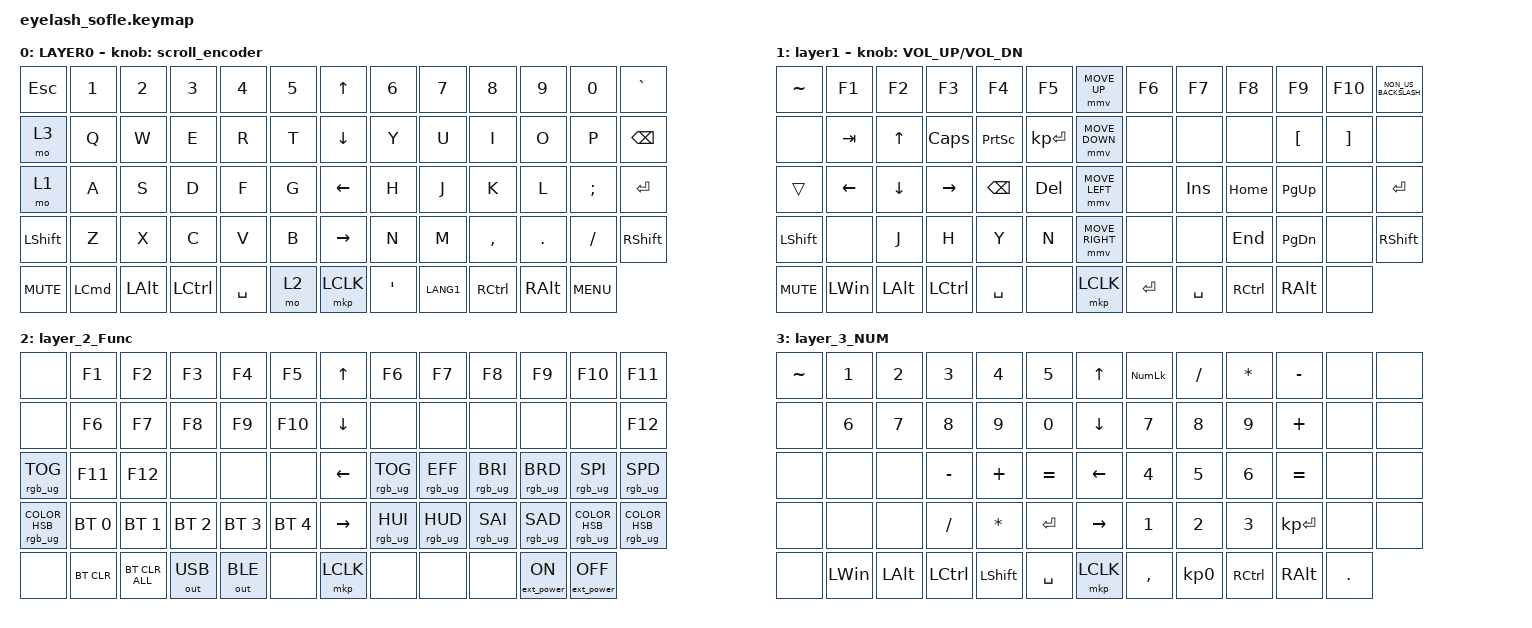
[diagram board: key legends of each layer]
#define ZMK_POINTING_DEFAULT_MOVE_VAL 300  // 600
#define ZMK_POINTING_DEFAULT_SCRL_VAL 15   // 10

#include <input/processors.dtsi>
#include <zephyr/dt-bindings/input/input-event-codes.h>
#include <behaviors.dtsi>
#include <dt-bindings/zmk/bt.h>
#include <dt-bindings/zmk/ext_power.h>
#include <dt-bindings/zmk/keys.h>
#include <dt-bindings/zmk/outputs.h>
#include <dt-bindings/zmk/pointing.h>
#include <dt-bindings/zmk/rgb.h>

&mmv_input_listener { input-processors = <&zip_xy_scaler 2 1>; };

&msc_input_listener { input-processors = <&zip_scroll_scaler 2 1>; };

&msc {
    acceleration-exponent = <0>;      // 0
    time-to-max-speed-ms = <300>;     // 300
    delay-ms = <0>;                   // 0
};

&mmv {
    time-to-max-speed-ms = <500>;
    acceleration-exponent = <0>;
    trigger-period-ms = <16>;
};

/ {
    scroll_encoder: scroll_encoder {
        compatible = "zmk,behavior-sensor-rotate";
        #sensor-binding-cells = <0>;
        bindings = <&msc SCRL_DOWN>, <&msc SCRL_UP>;

        tap-ms = <100>;      // 100
    };

    behaviors {
    };

    keymap {
        compatible = "zmk,keymap";

        layer0 {
            bindings = <
&kp ESC     &kp N1            &kp N2        &kp N3     &kp N4     &kp N5    &kp UP_ARROW     &kp N6   &kp N7     &kp N8     &kp N9         &kp N0      &kp GRAVE
&mo 3       &kp Q             &kp W         &kp E      &kp R      &kp T     &kp DOWN_ARROW   &kp Y    &kp U      &kp I      &kp O          &kp P       &kp BACKSPACE
&mo 1       &kp A             &kp S         &kp D      &kp F      &kp G     &kp LEFT_ARROW   &kp H    &kp J      &kp K      &kp L          &kp SEMI    &kp ENTER
&kp LSHFT   &kp Z             &kp X         &kp C      &kp V      &kp B     &kp RIGHT_ARROW  &kp N    &kp M      &kp COMMA  &kp DOT        &kp FSLH    &kp RIGHT_SHIFT
&kp C_MUTE  &kp LEFT_COMMAND  &kp LEFT_ALT  &kp LCTRL  &kp SPACE  &mo 2     &mkp LCLK        &kp SQT  &kp LANG1  &kp RCTRL  &kp RIGHT_ALT  &kp C_MENU
            >;

            sensor-bindings = <&scroll_encoder>;
            display-name = "LAYER0";
        };

        layer_1_Arrow {
            bindings = <
&kp TILDE       &kp F1          &kp F2          &kp F3           &kp F4           &kp F5          &mmv MOVE_UP     &kp F6     &kp F7      &kp F8     &kp F9            &kp F10            &kp NON_US_BACKSLASH
&none           &kp TAB         &kp UP_ARROW    &kp CAPSLOCK     &kp PRINTSCREEN  &kp KP_ENTER    &mmv MOVE_DOWN   &none      &none       &none      &kp LEFT_BRACKET  &kp RIGHT_BRACKET  &none
&trans          &kp LEFT_ARROW  &kp DOWN_ARROW  &kp RIGHT_ARROW  &kp BACKSPACE    &kp DELETE      &mmv MOVE_LEFT   &none      &kp INSERT  &kp HOME   &kp PAGE_UP       &none              &kp ENTER
&kp LEFT_SHIFT  &none           &kp J           &kp H            &kp Y            &kp N           &mmv MOVE_RIGHT  &none      &none       &kp END    &kp PG_DN         &none              &kp RIGHT_SHIFT
&kp C_MUTE      &kp LEFT_WIN    &kp LEFT_ALT    &kp LCTRL        &kp SPACE        &none           &mkp LCLK        &kp ENTER  &kp SPACE   &kp RCTRL  &kp RIGHT_ALT     &none
            >;

            sensor-bindings = <&inc_dec_kp C_VOL_UP C_VOL_DN>;
            display-name = "layer1";
        };

        layer_2_Func {
            bindings = <
&none                           &kp F1        &kp F2          &kp F3        &kp F4        &kp F5          &kp UP_ARROW     &kp F6           &kp F7           &kp F8           &kp F9            &kp F10                            &kp F11
&none                           &kp F6        &kp F7          &kp F8        &kp F9        &kp F10         &kp DOWN_ARROW   &none            &none            &none            &none             &none                              &kp F12
&rgb_ug RGB_TOG                 &kp F11       &kp F12         &none         &none         &none           &kp LEFT_ARROW   &rgb_ug RGB_TOG  &rgb_ug RGB_EFF  &rgb_ug RGB_BRI  &rgb_ug RGB_BRD   &rgb_ug RGB_SPI                    &rgb_ug RGB_SPD
&rgb_ug RGB_COLOR_HSB(0,0,100)  &bt BT_SEL 0  &bt BT_SEL 1    &bt BT_SEL 2  &bt BT_SEL 3  &bt BT_SEL 4    &kp RIGHT_ARROW  &rgb_ug RGB_HUI  &rgb_ug RGB_HUD  &rgb_ug RGB_SAI  &rgb_ug RGB_SAD   &rgb_ug RGB_COLOR_HSB(102,100,40)  &rgb_ug RGB_COLOR_HSB(201,51,52)
&none                           &bt BT_CLR    &bt BT_CLR_ALL  &out OUT_USB  &out OUT_BLE  &none           &mkp LCLK        &none            &none            &none            &ext_power EP_ON  &ext_power EP_OFF
            >;
        };

        layer_3_NUM {
            bindings = <
&kp TILDE  &kp N1        &kp N2        &kp N3     &kp N4        &kp N5       &kp UP_ARROW     &kp KP_NUMLOCK  &kp SLASH        &kp ASTERISK  &kp MINUS     &none    &none
&none      &kp N6        &kp N7        &kp N8     &kp N9        &kp N0       &kp DOWN_ARROW   &kp N7          &kp N8           &kp N9        &kp PLUS      &none    &none
&none      &none         &none         &kp MINUS  &kp PLUS      &kp EQUAL    &kp LEFT_ARROW   &kp N4          &kp N5           &kp N6        &kp EQUAL     &none    &none
&none      &none         &none         &kp SLASH  &kp ASTERISK  &kp ENTER    &kp RIGHT_ARROW  &kp N1          &kp N2           &kp N3        &kp KP_ENTER  &none    &none
&none      &kp LEFT_WIN  &kp LEFT_ALT  &kp LCTRL  &kp LSHFT     &kp SPACE    &mkp LCLK        &kp COMMA       &kp KP_NUMBER_0  &kp RCTRL     &kp RALT      &kp DOT
            >;
        };
    };
};
